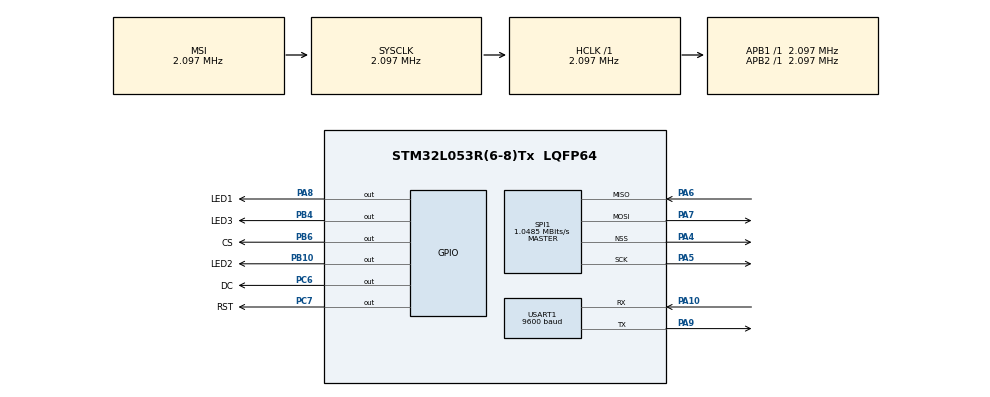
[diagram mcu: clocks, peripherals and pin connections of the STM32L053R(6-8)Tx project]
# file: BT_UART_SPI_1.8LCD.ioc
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Mcu.Family=STM32L0
Mcu.Name=STM32L053R(6-8)Tx
Mcu.Package=LQFP64
PA10.Mode=Asynchronous
PA10.Signal=USART1_RX
PA13.Mode=Serial_Wire
PA13.Signal=SYS_SWDIO
PA14.Mode=Serial_Wire
PA14.Signal=SYS_SWCLK
PA4.Mode=NSS_Signal_Hard_Output
PA4.Signal=SPI1_NSS
PA5.Mode=Full_Duplex_Master
PA5.Signal=SPI1_SCK
PA6.Mode=Full_Duplex_Master
PA6.Signal=SPI1_MISO
PA7.Mode=Full_Duplex_Master
PA7.Signal=SPI1_MOSI
PA8.GPIO_Label=LED1
PA8.Signal=GPIO_Output
PA9.Mode=Asynchronous
PA9.Signal=USART1_TX
PB10.GPIO_Label=LED2
PB10.Signal=GPIO_Output
PB4.GPIO_Label=LED3
PB4.Signal=GPIO_Output
PB6.GPIO_Label=CS
PB6.Signal=GPIO_Output
PC6.GPIO_Label=DC
PC6.Signal=GPIO_Output
PC7.GPIO_Label=RST
PC7.Signal=GPIO_Output
PH0-OSC_IN.Mode=HSE-External-Oscillator
PH0-OSC_IN.Signal=RCC_OSC_IN
PH1-OSC_OUT.Mode=HSE-External-Oscillator
PH1-OSC_OUT.Signal=RCC_OSC_OUT
ProjectManager.HeapSize=0x200
ProjectManager.StackSize=0x400
ProjectManager.TargetToolchain=STM32CubeIDE
RCC.AHBFreq_Value=2097000
RCC.APB1Freq_Value=2097000
RCC.APB1TimFreq_Value=2097000
RCC.APB2Freq_Value=2097000
RCC.APB2TimFreq_Value=2097000
RCC.HSE_VALUE=8000000
RCC.HSI16_VALUE=16000000
RCC.HSI48_VALUE=48000000
RCC.HSI_VALUE=16000000
RCC.LSE_VALUE=32768
RCC.MSI_VALUE=2097000
RCC.SYSCLKFreq_VALUE=2097000
RCC.VCOOutputFreq_Value=48000000
SPI1.CalculateBaudRate=1.0485 MBits/s
SPI1.Direction=SPI_DIRECTION_2LINES
SPI1.Mode=SPI_MODE_MASTER
SPI1.VirtualNSS=VM_NSSHARD
SPI1.VirtualType=VM_MASTER
USART1.BaudRate=9600
USART1.VirtualMode-Asynchronous=VM_ASYNC
board=custom

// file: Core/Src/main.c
/* USER CODE BEGIN Header */
/**
  ******************************************************************************
  * @file           : main.c
  * @brief          : Main program body
  ******************************************************************************
  * @attention
  *
  * Copyright (c) 2023 STMicroelectronics.
  * All rights reserved.
  *
  * This software is licensed under terms that can be found in the LICENSE file
  * in the root directory of this software component.
  * If no LICENSE file comes with this software, it is provided AS-IS.
  *
  ******************************************************************************
  */
/* USER CODE END Header */
#include "main.h"

/* USER CODE BEGIN Includes */
#include "ST7735.h"
#include "GFX_FUNCTIONS.h"
/* USER CODE END Includes */

/* USER CODE BEGIN PD */
#define UART_BUFFER_SIZE 1
/* USER CODE END PD */

SPI_HandleTypeDef hspi1;

UART_HandleTypeDef huart1;

/* USER CODE BEGIN PV */
uint8_t uart_buffer[UART_BUFFER_SIZE];
uint8_t spi_buffer[UART_BUFFER_SIZE];
char buffer[1];
/* USER CODE END PV */

void SystemClock_Config(void);
static void MX_GPIO_Init(void);
static void MX_SPI1_Init(void);
static void MX_USART1_UART_Init(void);

int main(void)
{

  /* MCU Configuration--------------------------------------------------------*/

  /* Reset of all peripherals, Initializes the Flash interface and the Systick. */
  HAL_Init();

  /* Configure the system clock */
  SystemClock_Config();

  /* Initialize all configured peripherals */
  MX_GPIO_Init();
  MX_SPI1_Init();
  MX_USART1_UART_Init();
  /* USER CODE BEGIN 2 */
  ST7735_Init(0);
   fillScreen(BLUE);
  /* USER CODE END 2 */

  /* Infinite loop */
  while (1)
  {

    /* USER CODE BEGIN 3 */
	  {
	          //HAL_UART_Receive(&huart1, uart_buffer, UART_BUFFER_SIZE, HAL_MAX_DELAY);
		  	  HAL_UART_Receive(&huart1, uart_buffer, UART_BUFFER_SIZE, 100);
	 	      memcpy( spi_buffer, uart_buffer, UART_BUFFER_SIZE);
	  	      if(HAL_SPI_Transmit(&hspi1, spi_buffer, UART_BUFFER_SIZE, 100)==HAL_OK) // Send SPI data
	  	      {
	  	    	ST7735_SetRotation(1);
	  	    	 sprintf(buffer,"Value %s", spi_buffer);
	  	    	 ST7735_WriteString( 1, 1, &buffer, Font_16x26, YELLOW ,BLUE);// Wait for UART data
	  			  // Toggle LED on PA8 based on received data
	  			  if (spi_buffer[0] == 'Y' || spi_buffer[0] == 'y')
	  			  {
	  				HAL_GPIO_WritePin(GPIOA, GPIO_PIN_8, GPIO_PIN_SET); // Turn on LED on PA8
	  			  }
	  			  else if (spi_buffer[0] == 'N' || spi_buffer[0] == 'n')
	  			  {
	  				HAL_GPIO_WritePin(GPIOA, GPIO_PIN_8, GPIO_PIN_RESET); // Turn off LED on PA8
	  			  }

	  			              if (spi_buffer[0] == 'E' || spi_buffer[0] == 'e')
	  			  			  {
	  			  				HAL_GPIO_WritePin(GPIOB, GPIO_PIN_10, GPIO_PIN_SET); // Turn on LED on PA8
	  			  			  }
	  			  			  else if (spi_buffer[0] == 'N' || spi_buffer[0] == 'n')
	  			  			  {
	  			  				HAL_GPIO_WritePin(GPIOB, GPIO_PIN_10, GPIO_PIN_RESET); // Turn off LED on PA8
	  			  			  }

	  			                          if (spi_buffer[0] == 'S' || spi_buffer[0] == 's')
	  			              			  {
	  			              				HAL_GPIO_WritePin(GPIOB, GPIO_PIN_4, GPIO_PIN_SET); // Turn on LED on PA8
	  			              			  }
	  			              			  else if (spi_buffer[0] == 'N' || spi_buffer[0] == 'n')
	  			              			  {
	  			              				HAL_GPIO_WritePin(GPIOB, GPIO_PIN_4, GPIO_PIN_RESET); // Turn off LED on PA8
	  			              			  }
	  	      }
	  	    }

  }
  /* USER CODE END 3 */
}

void SystemClock_Config(void)
{
  RCC_OscInitTypeDef RCC_OscInitStruct = {0};
  RCC_ClkInitTypeDef RCC_ClkInitStruct = {0};
  RCC_PeriphCLKInitTypeDef PeriphClkInit = {0};

  /** Configure the main internal regulator output voltage
  */
  __HAL_PWR_VOLTAGESCALING_CONFIG(PWR_REGULATOR_VOLTAGE_SCALE1);

  /** Initializes the RCC Oscillators according to the specified parameters
  * in the RCC_OscInitTypeDef structure.
  */
  RCC_OscInitStruct.OscillatorType = RCC_OSCILLATORTYPE_MSI;
  RCC_OscInitStruct.MSIState = RCC_MSI_ON;
  RCC_OscInitStruct.MSICalibrationValue = 0;
  RCC_OscInitStruct.MSIClockRange = RCC_MSIRANGE_5;
  RCC_OscInitStruct.PLL.PLLState = RCC_PLL_NONE;
  if (HAL_RCC_OscConfig(&RCC_OscInitStruct) != HAL_OK)
  {
    Error_Handler();
  }

  /** Initializes the CPU, AHB and APB buses clocks
  */
  RCC_ClkInitStruct.ClockType = RCC_CLOCKTYPE_HCLK|RCC_CLOCKTYPE_SYSCLK
                              |RCC_CLOCKTYPE_PCLK1|RCC_CLOCKTYPE_PCLK2;
  RCC_ClkInitStruct.SYSCLKSource = RCC_SYSCLKSOURCE_MSI;
  RCC_ClkInitStruct.AHBCLKDivider = RCC_SYSCLK_DIV1;
  RCC_ClkInitStruct.APB1CLKDivider = RCC_HCLK_DIV1;
  RCC_ClkInitStruct.APB2CLKDivider = RCC_HCLK_DIV1;

  if (HAL_RCC_ClockConfig(&RCC_ClkInitStruct, FLASH_LATENCY_0) != HAL_OK)
  {
    Error_Handler();
  }
  PeriphClkInit.PeriphClockSelection = RCC_PERIPHCLK_USART1;
  PeriphClkInit.Usart1ClockSelection = RCC_USART1CLKSOURCE_PCLK2;
  if (HAL_RCCEx_PeriphCLKConfig(&PeriphClkInit) != HAL_OK)
  {
    Error_Handler();
  }
}

static void MX_SPI1_Init(void)
{

  /* SPI1 parameter configuration*/
  hspi1.Instance = SPI1;
  hspi1.Init.Mode = SPI_MODE_MASTER;
  hspi1.Init.Direction = SPI_DIRECTION_2LINES;
  hspi1.Init.DataSize = SPI_DATASIZE_8BIT;
  hspi1.Init.CLKPolarity = SPI_POLARITY_LOW;
  hspi1.Init.CLKPhase = SPI_PHASE_1EDGE;
  hspi1.Init.NSS = SPI_NSS_HARD_OUTPUT;
  hspi1.Init.BaudRatePrescaler = SPI_BAUDRATEPRESCALER_2;
  hspi1.Init.FirstBit = SPI_FIRSTBIT_MSB;
  hspi1.Init.TIMode = SPI_TIMODE_DISABLE;
  hspi1.Init.CRCCalculation = SPI_CRCCALCULATION_DISABLE;
  hspi1.Init.CRCPolynomial = 7;
  if (HAL_SPI_Init(&hspi1) != HAL_OK)
  {
    Error_Handler();
  }

}

static void MX_USART1_UART_Init(void)
{

  huart1.Instance = USART1;
  huart1.Init.BaudRate = 9600;
  huart1.Init.WordLength = UART_WORDLENGTH_8B;
  huart1.Init.StopBits = UART_STOPBITS_1;
  huart1.Init.Parity = UART_PARITY_NONE;
  huart1.Init.Mode = UART_MODE_TX_RX;
  huart1.Init.HwFlowCtl = UART_HWCONTROL_NONE;
  huart1.Init.OverSampling = UART_OVERSAMPLING_16;
  huart1.Init.OneBitSampling = UART_ONE_BIT_SAMPLE_DISABLE;
  huart1.AdvancedInit.AdvFeatureInit = UART_ADVFEATURE_NO_INIT;
  if (HAL_UART_Init(&huart1) != HAL_OK)
  {
    Error_Handler();
  }

}

static void MX_GPIO_Init(void)
{
  GPIO_InitTypeDef GPIO_InitStruct = {0};

  /* GPIO Ports Clock Enable */
  __HAL_RCC_GPIOH_CLK_ENABLE();
  __HAL_RCC_GPIOA_CLK_ENABLE();
  __HAL_RCC_GPIOB_CLK_ENABLE();
  __HAL_RCC_GPIOC_CLK_ENABLE();

  /*Configure GPIO pin Output Level */
  HAL_GPIO_WritePin(GPIOB, LED2_Pin|LED3_Pin|CS_Pin, GPIO_PIN_RESET);

  /*Configure GPIO pin Output Level */
  HAL_GPIO_WritePin(GPIOC, DC_Pin|RST_Pin, GPIO_PIN_RESET);

  /*Configure GPIO pin Output Level */
  HAL_GPIO_WritePin(LED1_GPIO_Port, LED1_Pin, GPIO_PIN_RESET);

  /*Configure GPIO pins : LED2_Pin LED3_Pin CS_Pin */
  GPIO_InitStruct.Pin = LED2_Pin|LED3_Pin|CS_Pin;
  GPIO_InitStruct.Mode = GPIO_MODE_OUTPUT_PP;
  GPIO_InitStruct.Pull = GPIO_NOPULL;
  GPIO_InitStruct.Speed = GPIO_SPEED_FREQ_LOW;
  HAL_GPIO_Init(GPIOB, &GPIO_InitStruct);

  /*Configure GPIO pins : DC_Pin RST_Pin */
  GPIO_InitStruct.Pin = DC_Pin|RST_Pin;
  GPIO_InitStruct.Mode = GPIO_MODE_OUTPUT_PP;
  GPIO_InitStruct.Pull = GPIO_NOPULL;
  GPIO_InitStruct.Speed = GPIO_SPEED_FREQ_LOW;
  HAL_GPIO_Init(GPIOC, &GPIO_InitStruct);

  /*Configure GPIO pin : LED1_Pin */
  GPIO_InitStruct.Pin = LED1_Pin;
  GPIO_InitStruct.Mode = GPIO_MODE_OUTPUT_PP;
  GPIO_InitStruct.Pull = GPIO_NOPULL;
  GPIO_InitStruct.Speed = GPIO_SPEED_FREQ_LOW;
  HAL_GPIO_Init(LED1_GPIO_Port, &GPIO_InitStruct);

}

void Error_Handler(void)
{
  __disable_irq();
  while (1)
  {
  }
}
